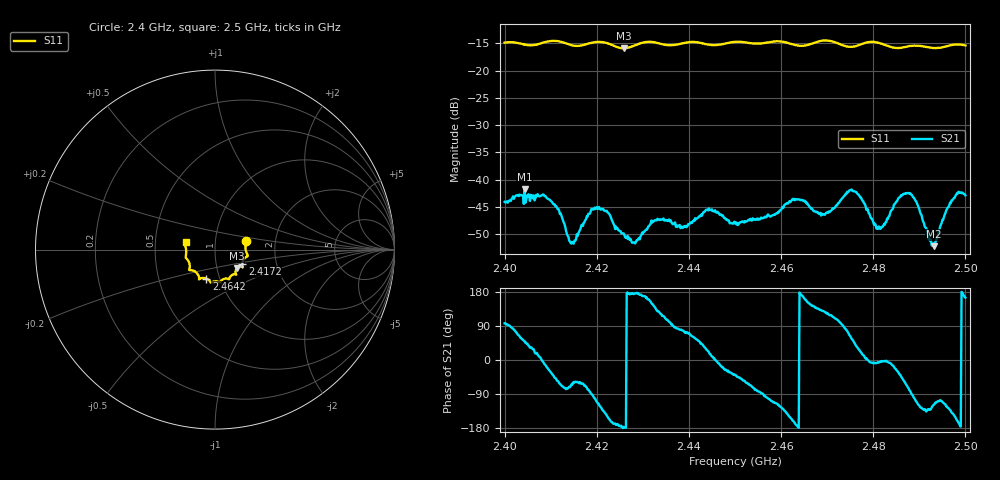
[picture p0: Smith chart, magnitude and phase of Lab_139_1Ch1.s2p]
# Hz S RI R 50
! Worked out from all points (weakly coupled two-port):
!   601 points, 2.4 GHz to 2.5 GHz, reference 50 ohm
!   highest |S21| = -41.73 dB at 2.4043 GHz (marker M1); lowest = -52.2 dB at 2.4932 GHz (marker M2)
!   lowest |S11| = -15.9 dB at 2.4258 GHz (marker M3), VSWR 1.38, Z = 62.3 - j13.2 ohm
!   |S11| at or under -10 dB: start of sweep to end of sweep
!   S12 and S22 are empty: the file has one direction only
!   S11 on the Smith chart (normalised r, x): 2.4 GHz: 1.41, +0.14; 2.4172 GHz: 1.34, -0.22; 2.4642 GHz: 0.86, -0.29; 2.5 GHz: 0.72, +0.06
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2.4e9  0.1734 0.0489  -0.000765 0.00623  0 0  0 0
2.404333e9  0.1706 0.0212  0.00531 0.00623  0 0  0 0
2.410333e9  0.1836 -0.0338  0.00491 -0.00382  0 0  0 0
2.4145e9  0.1632 -0.0502  0.00113 -0.00235  0 0  0 0
2.416667e9  0.1528 -0.0739  0.00176 -0.00342  0 0  0 0
2.417167e9  0.1519 -0.0798  0.00173 -0.00366  0 0  0 0
2.421e9  0.1544 -0.0972  -0.00321 -0.00436  0 0  0 0
2.425833e9  0.1219 -0.1032  -0.00322 -0.000208  0 0  0 0
2.428167e9  0.1143 -0.1251  -0.00265 0.000239  0 0  0 0
2.433333e9  0.1134 -0.1371  -0.00273 0.0034  0 0  0 0
2.439167e9  0.08 -0.1606  0.00117 0.00352  0 0  0 0
2.4445e9  0.0599 -0.1611  0.00511 0.0015  0 0  0 0
2.45e9  0.0284 -0.1812  0.00306 -0.00257  0 0  0 0
2.464167e9  -0.0481 -0.1616  -0.00647 0.000641  0 0  0 0
2.466667e9  -0.0764 -0.1589  -0.00438 0.00329  0 0  0 0
2.475333e9  -0.1093 -0.1234  0.00461 0.00672  0 0  0 0
2.480667e9  -0.1438 -0.111  0.00354 -0.000515  0 0  0 0
2.483333e9  -0.1406 -0.0898  0.00457 -0.000547  0 0  0 0
2.488e9  -0.1605 -0.0492  0.00111 -0.00748  0 0  0 0
2.493167e9  -0.1604 -0.0118  -0.00116 -0.00218  0 0  0 0
2.497e9  -0.1689 0.0277  -0.00487 -0.00425  0 0  0 0
2.5e9  -0.1642 0.0429  -0.00694 0.00189  0 0  0 0
